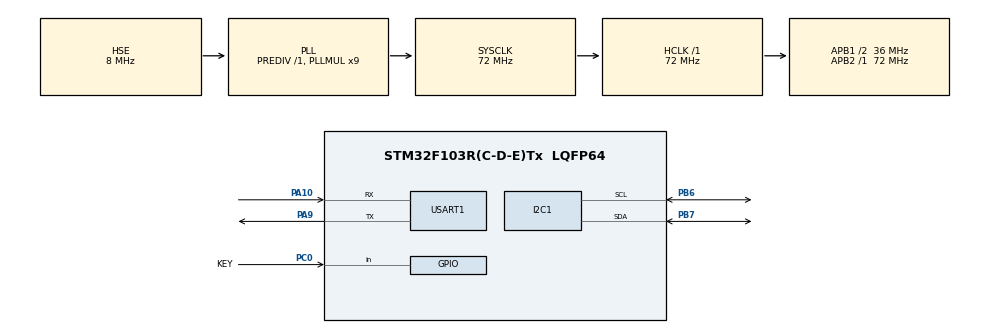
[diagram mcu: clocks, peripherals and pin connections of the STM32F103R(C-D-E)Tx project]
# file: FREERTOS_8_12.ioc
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FREERTOS.Queues01=myQueue01,16,uint32_t,0,Dynamic,NULL,NULL
FREERTOS.Tasks01=Task_KEY,0,128,StartTask_KEY,Default,NULL,Dynamic,NULL,NULL;myTask01,0,128,StartTask01,Default,NULL,Dynamic,NULL,NULL;myTask02,-1,128,StartTask02,Default,NULL,Dynamic,NULL,NULL
Mcu.Family=STM32F1
Mcu.Name=STM32F103R(C-D-E)Tx
Mcu.Package=LQFP64
NVIC.PriorityGroup=NVIC_PRIORITYGROUP_4
NVIC.TIM8_UP_IRQn=true\:15\:0\:false\:false\:true\:false\:false\:true\:true
NVIC.TimeBase=TIM8_UP_IRQn
NVIC.TimeBaseIP=TIM8
NVIC.USART1_IRQn=true\:5\:0\:false\:false\:true\:true\:true\:true\:true
PA10.Mode=Asynchronous
PA10.Signal=USART1_RX
PA13.Mode=Serial_Wire
PA13.Signal=SYS_JTMS-SWDIO
PA14.Mode=Serial_Wire
PA14.Signal=SYS_JTCK-SWCLK
PA9.Mode=Asynchronous
PA9.Signal=USART1_TX
PB6.Mode=I2C
PB6.Signal=I2C1_SCL
PB7.Mode=I2C
PB7.Signal=I2C1_SDA
PC0.GPIO_Label=KEY
PC0.GPIO_PuPd=GPIO_PULLUP
PC0.Signal=GPIO_Input
PD0-OSC_IN.Mode=HSE-External-Oscillator
PD0-OSC_IN.Signal=RCC_OSC_IN
PD1-OSC_OUT.Mode=HSE-External-Oscillator
PD1-OSC_OUT.Signal=RCC_OSC_OUT
ProjectManager.HeapSize=0x200
ProjectManager.StackSize=0x400
ProjectManager.TargetToolchain=MDK-ARM V5.32
RCC.AHBFreq_Value=72000000
RCC.APB1CLKDivider=RCC_HCLK_DIV2
RCC.APB1Freq_Value=36000000
RCC.APB1TimFreq_Value=72000000
RCC.APB2Freq_Value=72000000
RCC.APB2TimFreq_Value=72000000
RCC.HCLKFreq_Value=72000000
RCC.PLLMUL=RCC_PLL_MUL9
RCC.PLLSourceVirtual=RCC_PLLSOURCE_HSE
RCC.SYSCLKFreq_VALUE=72000000
RCC.SYSCLKSource=RCC_SYSCLKSOURCE_PLLCLK
RCC.USBFreq_Value=72000000
USART1.VirtualMode=VM_ASYNC
VP_FREERTOS_VS_CMSIS_V1.Mode=CMSIS_V1
VP_SYS_VS_tim8.Mode=TIM8
board=custom

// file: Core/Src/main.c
/* USER CODE BEGIN Header */
/**
  ******************************************************************************
  * @file           : main.c
  * @brief          : Main program body
  ******************************************************************************
  * @attention
  *
  * Copyright (c) 2024 STMicroelectronics.
  * All rights reserved.
  *
  * This software is licensed under terms that can be found in the LICENSE file
  * in the root directory of this software component.
  * If no LICENSE file comes with this software, it is provided AS-IS.
  *
  ******************************************************************************
  */
/* USER CODE END Header */
#include "main.h"
#include "cmsis_os.h"
#include "i2c.h"
#include "usart.h"
#include "gpio.h"

void SystemClock_Config(void);
void MX_FREERTOS_Init(void);
/* USER CODE BEGIN PFP */
//void vOLEDTask(void *argument);
/* USER CODE END PFP */

int main(void)
{

  /* MCU Configuration--------------------------------------------------------*/

  /* Reset of all peripherals, Initializes the Flash interface and the Systick. */
  HAL_Init();

  /* Configure the system clock */
  SystemClock_Config();

  /* Initialize all configured peripherals */
  MX_GPIO_Init();
  MX_I2C1_Init();
  MX_USART1_UART_Init();
  /* USER CODE BEGIN 2 */
	OLED_Init();
  /* USER CODE END 2 */

  /* Call init function for freertos objects (in freertos.c) */
  MX_FREERTOS_Init();

  /* Start scheduler */
  osKernelStart();

  /* We should never get here as control is now taken by the scheduler */
  /* Infinite loop */
  /* USER CODE BEGIN WHILE */
  while (1)
  {
		OLED_ShowString(4,1,"WORN");
    /* USER CODE END WHILE */

  }
}

void SystemClock_Config(void)
{
  RCC_OscInitTypeDef RCC_OscInitStruct = {0};
  RCC_ClkInitTypeDef RCC_ClkInitStruct = {0};

  /** Initializes the RCC Oscillators according to the specified parameters
  * in the RCC_OscInitTypeDef structure.
  */
  RCC_OscInitStruct.OscillatorType = RCC_OSCILLATORTYPE_HSE;
  RCC_OscInitStruct.HSEState = RCC_HSE_ON;
  RCC_OscInitStruct.HSEPredivValue = RCC_HSE_PREDIV_DIV1;
  RCC_OscInitStruct.HSIState = RCC_HSI_ON;
  RCC_OscInitStruct.PLL.PLLState = RCC_PLL_ON;
  RCC_OscInitStruct.PLL.PLLSource = RCC_PLLSOURCE_HSE;
  RCC_OscInitStruct.PLL.PLLMUL = RCC_PLL_MUL9;
  if (HAL_RCC_OscConfig(&RCC_OscInitStruct) != HAL_OK)
  {
    Error_Handler();
  }

  /** Initializes the CPU, AHB and APB buses clocks
  */
  RCC_ClkInitStruct.ClockType = RCC_CLOCKTYPE_HCLK|RCC_CLOCKTYPE_SYSCLK
                              |RCC_CLOCKTYPE_PCLK1|RCC_CLOCKTYPE_PCLK2;
  RCC_ClkInitStruct.SYSCLKSource = RCC_SYSCLKSOURCE_PLLCLK;
  RCC_ClkInitStruct.AHBCLKDivider = RCC_SYSCLK_DIV1;
  RCC_ClkInitStruct.APB1CLKDivider = RCC_HCLK_DIV2;
  RCC_ClkInitStruct.APB2CLKDivider = RCC_HCLK_DIV1;

  if (HAL_RCC_ClockConfig(&RCC_ClkInitStruct, FLASH_LATENCY_2) != HAL_OK)
  {
    Error_Handler();
  }
}

/* USER CODE BEGIN 4 */
//void vOLEDTask(void *argument)
//{
//  for (;;)
//  {
//		OLED_ShowString(1,1,"Hello");
//		vTaskDelay(pdMS_TO_TICKS(5000));
//		OLED_Clear();
//		vTaskDelay(pdMS_TO_TICKS(5000));
//  }
//}

/* USER CODE END 4 */

void HAL_TIM_PeriodElapsedCallback(TIM_HandleTypeDef *htim)
{
  if (htim->Instance == TIM8) {
    HAL_IncTick();
  }
}

void Error_Handler(void)
{
  __disable_irq();
  while (1)
  {
  }
}

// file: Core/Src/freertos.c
/* USER CODE BEGIN Header */
/**
  ******************************************************************************
  * File Name          : freertos.c
  * Description        : Code for freertos applications
  ******************************************************************************
  * @attention
  *
  * Copyright (c) 2024 STMicroelectronics.
  * All rights reserved.
  *
  * This software is licensed under terms that can be found in the LICENSE file
  * in the root directory of this software component.
  * If no LICENSE file comes with this software, it is provided AS-IS.
  *
  ******************************************************************************
  */
/* USER CODE END Header */

#include "FreeRTOS.h"
#include "task.h"
#include "main.h"
#include "cmsis_os.h"

/* USER CODE BEGIN PTD */
typedef struct
{
	uint32_t var1;
	uint32_t var2;
	uint8_t var3;
}Amail_TypeDef;
/* USER CODE END PTD */

/* USER CODE BEGIN Variables */

osMailQId myosMailQId;

/* USER CODE END Variables */
osThreadId Task_KEYHandle;
osThreadId myTask01Handle;
osThreadId myTask02Handle;
osMessageQId myQueue01Handle;

void StartTask_KEY(void const * argument);
void StartTask01(void const * argument);
void StartTask02(void const * argument);

void MX_FREERTOS_Init(void); /* (MISRA C 2004 rule 8.1) */

/* GetIdleTaskMemory prototype (linked to static allocation support) */
void vApplicationGetIdleTaskMemory( StaticTask_t **ppxIdleTaskTCBBuffer, StackType_t **ppxIdleTaskStackBuffer, uint32_t *pulIdleTaskStackSize );

/* USER CODE BEGIN GET_IDLE_TASK_MEMORY */
static StaticTask_t xIdleTaskTCBBuffer;
static StackType_t xIdleStack[configMINIMAL_STACK_SIZE];

void vApplicationGetIdleTaskMemory( StaticTask_t **ppxIdleTaskTCBBuffer, StackType_t **ppxIdleTaskStackBuffer, uint32_t *pulIdleTaskStackSize )
{
  *ppxIdleTaskTCBBuffer = &xIdleTaskTCBBuffer;
  *ppxIdleTaskStackBuffer = &xIdleStack[0];
  *pulIdleTaskStackSize = configMINIMAL_STACK_SIZE;
  /* place for user code */
}
/* USER CODE END GET_IDLE_TASK_MEMORY */

void MX_FREERTOS_Init(void) {
  /* USER CODE BEGIN Init */
  osMailQDef(mail,32,Amail_TypeDef);
	myosMailQId=osMailCreate(osMailQ(mail),NULL);
  /* USER CODE END Init */

  /* Create the queue(s) */
  /* definition and creation of myQueue01 */
  osMessageQDef(myQueue01, 16, uint32_t);
  myQueue01Handle = osMessageCreate(osMessageQ(myQueue01), NULL);

  /* Create the thread(s) */
  /* definition and creation of Task_KEY */
  osThreadDef(Task_KEY, StartTask_KEY, osPriorityNormal, 0, 128);
  Task_KEYHandle = osThreadCreate(osThread(Task_KEY), NULL);

  /* definition and creation of myTask01 */
  osThreadDef(myTask01, StartTask01, osPriorityNormal, 0, 128);
  myTask01Handle = osThreadCreate(osThread(myTask01), NULL);

  /* definition and creation of myTask02 */
  osThreadDef(myTask02, StartTask02, osPriorityBelowNormal, 0, 128);
  myTask02Handle = osThreadCreate(osThread(myTask02), NULL);

}

void StartTask_KEY(void const * argument)
{
  /* USER CODE BEGIN StartTask_KEY */
  /* Infinite loop */
  Amail_TypeDef *pTMail;
  uint32_t ProducerValue1=0;
  uint32_t ProducerValue2=0;
  uint8_t ProducerValue3=0;
  for(;;)
  {
    if(HAL_GPIO_ReadPin(KEY_GPIO_Port,KEY_Pin)==0)
    {
        osDelay(10);
        if(HAL_GPIO_ReadPin(KEY_GPIO_Port,KEY_Pin)==0)
        {
            osThreadSuspendAll();
            printf("KEY按下\n");
            osThreadResumeAll();
            pTMail=osMailAlloc(myosMailQId,osWaitForever);
            pTMail->var1=ProducerValue1;
            pTMail->var2=ProducerValue2;
            pTMail->var3=ProducerValue3;
            if(osMailPut(myosMailQId,pTMail)==osOK)
            {
                ProducerValue1++;
                ProducerValue2+=2;
                ProducerValue3+=3;
            }
            while(HAL_GPIO_ReadPin(KEY_GPIO_Port,KEY_Pin)==0)
            {
                osDelay(10);
            }
        }
    }
      osDelay(1);
  }
  /* USER CODE END StartTask_KEY */
}

void StartTask01(void const * argument)
{
  /* USER CODE BEGIN StartTask01 */
  /* Infinite loop */
  osEvent event;
  Amail_TypeDef *pRmail;
  for(;;)
  {
      event=osMailGet(myosMailQId,osWaitForever);
      if(event.status==osEventMail)
      {
          pRmail=event.value.p;
          printf("%d %d %d \n",pRmail->var1,pRmail->var2,pRmail->var3);
          osMailFree(myosMailQId,pRmail); //将分配的内存给清除
      }
      osDelay(1);
  }
  /* USER CODE END StartTask01 */
}

void StartTask02(void const * argument)
{
  /* USER CODE BEGIN StartTask02 */
  /* Infinite loop */
//  osEvent event;
//  DataGroup *myDataGroup_r;
  for(;;)
  {
//      event=osMessageGet(myQueue01Handle,osWaitForever);
//      if(event.status==osEventMessage) //判断是否是消息队列
//      {
//          myDataGroup_r=event.value.p;
//          osThreadSuspendAll();
//          printf("任务2接受的数据： %d\n",myDataGroup_r->var1);
//          printf("任务2接受的数据： %d\n",myDataGroup_r->var2);
//          printf("任务2接受的数据： %d\n",myDataGroup_r->var3);
//          osThreadResumeAll();
//      }
    osDelay(1);
  }
  /* USER CODE END StartTask02 */
}
